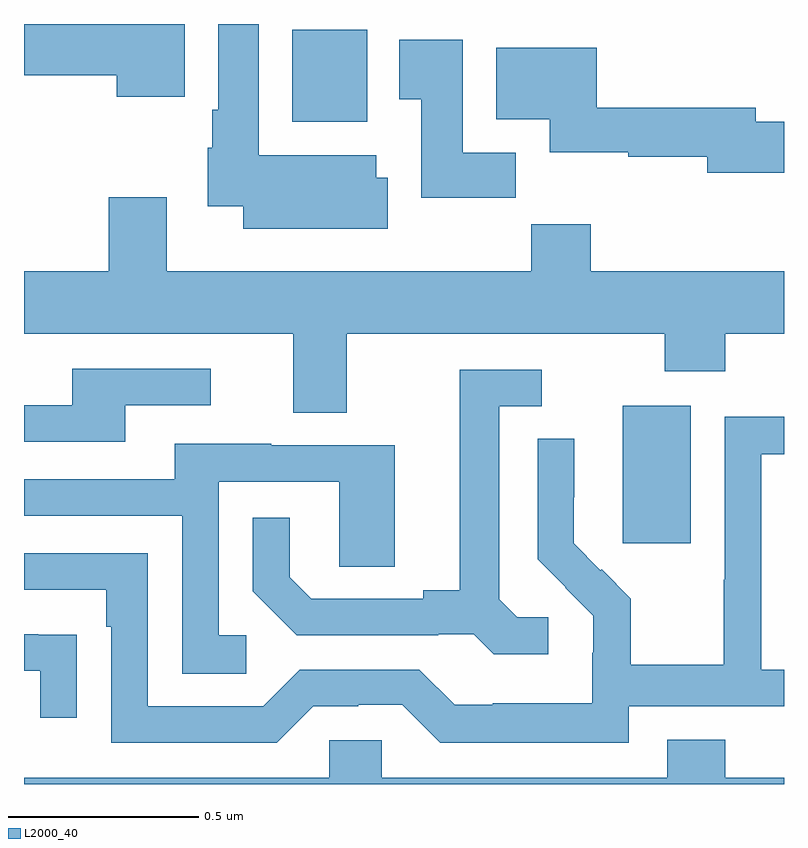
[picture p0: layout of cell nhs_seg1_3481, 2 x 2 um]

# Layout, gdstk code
import gdstk
lib = gdstk.Library(unit=1e-6, precision=1e-09)
def R(c, l, rs):  # rectangles x0, y0, x1, y1
    for r in rs: c.add(gdstk.rectangle(r[:2], r[2:], *l))
def P(c, l, *ps):  # polygons
    for p in ps: c.add(gdstk.Polygon(p, *l))
L2000_40 = (2000, 40)

nhs_seg1_3481 = lib.new_cell('nhs_seg1_3481')
R(nhs_seg1_3481, L2000_40, [(155.576,565.833,155.755,566.194), (154.706,566.942,154.903,567.184)])
P(nhs_seg1_3481, L2000_40, [(154.957,566.795),(154.927,566.795),(154.927,566.854),(154.618,566.854),(154.618,567.199),(154.511,567.199),(154.511,566.974),(154.496,566.974),(154.496,566.874),(154.484,566.874),(154.484,566.72),(154.577,566.72),(154.577,566.66),(154.957,566.66)],
  [(154.423,567.199),(154,567.199),(154,567.064),(154.244,567.064),(154.244,567.008),(154.423,567.008)],
  [(155.294,566.86),(155.155,566.86),(155.155,567.157),(154.988,567.157),(154.988,567.001),(155.045,567.001),(155.045,566.742),(155.294,566.742)],
  [(156,566.942),(155.926,566.942),(155.926,566.978),(155.507,566.978),(155.507,567.136),(155.243,567.136),(155.243,566.948),(155.384,566.948),(155.384,566.861),(155.59,566.861),(155.59,566.85),(155.798,566.85),(155.798,566.807),(156,566.807)],
  [(154.849,566.384),(155.686,566.384),(155.686,566.285),(155.846,566.285),(155.846,566.384),(156,566.384),(156,566.548),(155.492,566.548),(155.492,566.672),(155.335,566.672),(155.335,566.548),(154.375,566.548),(154.375,566.743),(154.223,566.743),(154.223,566.548),(154,566.548),(154,566.384),(154.709,566.384),(154.709,566.176),(154.849,566.176)],
  [(154.267,566.196),(154.492,566.196),(154.492,566.292),(154.127,566.292),(154.127,566.196),(154,566.196),(154,566.1),(154.267,566.1)],
  [(155.38,565.638),(155.298,565.638),(155.251,565.685),(155.251,566.193),(155.362,566.193),(155.362,566.289),(155.147,566.289),(155.147,565.709),(155.051,565.709),(155.051,565.686),(154.756,565.686),(154.699,565.743),(154.699,565.9),(154.602,565.9),(154.602,565.706),(154.718,565.59),(155.09,565.59),(155.09,565.593),(155.184,565.593),(155.236,565.541),(155.38,565.541)],
  [(155.592,565.404),(156,565.404),(156,565.5),(155.94,565.5),(155.94,566.067),(156,566.067),(156,566.166),(155.844,566.166),(155.844,565.736),(155.842,565.736),(155.842,565.513),(155.597,565.513),(155.597,565.687),(155.52,565.764),(155.517,565.761),(155.447,565.832),(155.447,565.954),(155.448,565.954),(155.448,566.108),(155.352,566.108),(155.352,565.79),(155.425,565.717),(155.424,565.716),(155.498,565.642),(155.498,565.545),(155.496,565.545),(155.496,565.411),(155.233,565.411),(155.233,565.407),(155.133,565.407),(155.04,565.5),(154.725,565.5),(154.629,565.404),(154.326,565.404),(154.326,565.806),(154,565.806),(154,565.71),(154.217,565.71),(154.217,565.613),(154.23,565.613),(154.23,565.308),(154.665,565.308),(154.761,565.404),(154.88,565.404),(154.88,565.407),(154.995,565.407),(155.095,565.307),(155.592,565.307)],
  [(154.585,565.59),(154.512,565.59),(154.512,565.995),(154.83,565.995),(154.83,565.771),(154.975,565.771),(154.975,566.091),(154.651,566.091),(154.651,566.095),(154.397,566.095),(154.397,566.001),(154,566.001),(154,565.905),(154.416,565.905),(154.416,565.489),(154.585,565.489)],
  [(154.139,565.592),(154.037,565.592),(154.037,565.593),(154,565.593),(154,565.497),(154.043,565.497),(154.043,565.374),(154.139,565.374)],
  [(156,565.216),(155.846,565.216),(155.846,565.315),(155.693,565.315),(155.693,565.216),(154.941,565.216),(154.941,565.314),(154.803,565.314),(154.803,565.216),(154,565.216),(154,565.199),(156,565.199)])

lib.write_gds('nhs_seg1_3481.gds')
